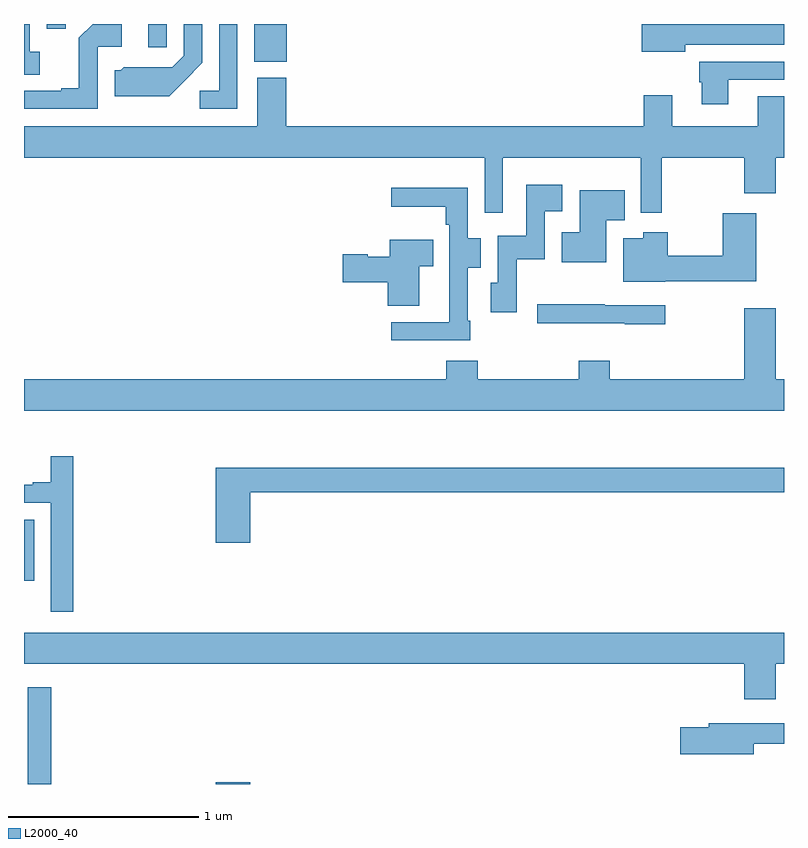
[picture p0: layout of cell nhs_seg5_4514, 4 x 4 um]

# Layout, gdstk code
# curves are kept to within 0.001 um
import gdstk
lib = gdstk.Library(unit=1e-6, precision=1e-09)
def R(c, l, rs):  # rectangles x0, y0, x1, y1
    for r in rs: c.add(gdstk.rectangle(r[:2], r[2:], *l))
def P(c, l, *ps):  # polygons
    for p in ps: c.add(gdstk.Polygon(p, *l))
L2000_40 = (2000, 40)

nhs_seg5_4514 = lib.new_cell('nhs_seg5_4514')
R(nhs_seg5_4514, L2000_40, [(377.021,850.799,377.143,851.308), (378.008,850.799,378.191,850.807), (377,851.87,377.053,852.19), (378.212,854.6,378.382,854.799), (377.654,854.676,377.751,854.799), (377.121,854.774,377.219,854.799)])
P(nhs_seg5_4514, L2000_40, [(378.123,854.799),(378.027,854.799),(378.027,854.448),(377.925,854.448),(377.925,854.352),(378.123,854.352)],
  [(377.845,854.501),(377.937,854.594),(377.937,854.799),(377.841,854.799),(377.841,854.631),(377.781,854.571),(377.524,854.572),(377.508,854.556),(377.477,854.556),(377.477,854.42),(377.765,854.42)],
  [(377.083,854.652),(377.031,854.652),(377.031,854.799),(377,854.799),(377,854.533),(377.083,854.533)],
  [(380.479,854.69),(381,854.69),(381,854.799),(380.25,854.799),(380.25,854.654),(380.479,854.654)],
  [(377.388,854.679),(377.515,854.679),(377.515,854.799),(377.363,854.799),(377.289,854.726),(377.289,854.461),(377.195,854.461),(377.195,854.448),(377,854.448),(377,854.352),(377.388,854.352)],
  [(380.707,854.505),(381,854.505),(381,854.601),(380.555,854.601),(380.555,854.493),(380.567,854.493),(380.567,854.376),(380.707,854.376)],
  [(379.521,854.096),(380.247,854.096),(380.247,853.806),(380.356,853.806),(380.356,854.096),(380.792,854.096),(380.792,853.908),(380.956,853.908),(380.956,854.096),(381,854.096),(381,854.42),(380.861,854.42),(380.861,854.26),(380.413,854.26),(380.413,854.425),(380.261,854.425),(380.261,854.26),(378.38,854.26),(378.38,854.515),(378.227,854.515),(378.227,854.26),(377,854.26),(377,854.096),(379.425,854.096),(379.425,853.806),(379.521,853.806)],
  [(379.593,853.562),(379.74,853.562),(379.74,853.814),(379.834,853.814),(379.834,853.954),(379.644,853.954),(379.644,853.684),(379.494,853.684),(379.494,853.437),(379.457,853.437),(379.457,853.281),(379.593,853.281)],
  [(379.348,853.237),(379.335,853.237),(379.335,853.516),(379.405,853.516),(379.405,853.671),(379.335,853.671),(379.335,853.936),(378.933,853.936),(378.933,853.838),(379.219,853.838),(379.219,853.742),(379.239,853.742),(379.239,853.427),(379.238,853.427),(379.238,853.23),(378.933,853.23),(378.933,853.134),(379.348,853.134)],
  [(380.065,853.766),(380.162,853.766),(380.162,853.924),(379.925,853.924),(379.925,853.702),(379.829,853.702),(379.829,853.544),(380.065,853.544)],
  [(380.376,853.444),(380.855,853.444),(380.855,853.804),(380.677,853.804),(380.677,853.58),(380.388,853.58),(380.388,853.702),(380.258,853.702),(380.258,853.672),(380.153,853.672),(380.153,853.442),(380.376,853.442)],
  [(379.081,853.523),(379.154,853.523),(379.154,853.663),(378.926,853.663),(378.926,853.573),(378.81,853.573),(378.81,853.586),(378.678,853.586),(378.678,853.439),(378.914,853.439),(378.914,853.315),(379.081,853.315)],
  [(380.374,853.32),(380.057,853.32),(380.057,853.323),(379.701,853.323),(379.701,853.223),(380.161,853.223),(380.161,853.219),(380.374,853.219)],
  [(381,852.928),(380.956,852.928),(380.956,853.303),(380.792,853.303),(380.792,852.928),(380.084,852.928),(380.084,853.027),(379.919,853.027),(379.919,852.928),(379.388,852.928),(379.388,853.027),(379.223,853.027),(379.223,852.928),(377,852.928),(377,852.764),(381,852.764)],
  [(377.258,852.523),(377.141,852.523),(377.141,852.388),(377.045,852.388),(377.045,852.375),(377,852.375),(377,852.279),(377.142,852.279),(377.142,851.706),(377.258,851.706)],
  [(378.191,852.334),(381,852.334),(381,852.463),(378.008,852.463),(378.008,852.069),(378.191,852.069)],
  [(380.956,851.432),(381,851.432),(381,851.596),(377,851.596),(377,851.432),(380.792,851.432),(380.792,851.244),(380.956,851.244)],
  [(380.842,851.01),(381,851.01),(381,851.118),(380.603,851.118),(380.603,851.097),(380.454,851.097),(380.454,850.955),(380.842,850.955)])

lib.write_gds('nhs_seg5_4514.gds')
